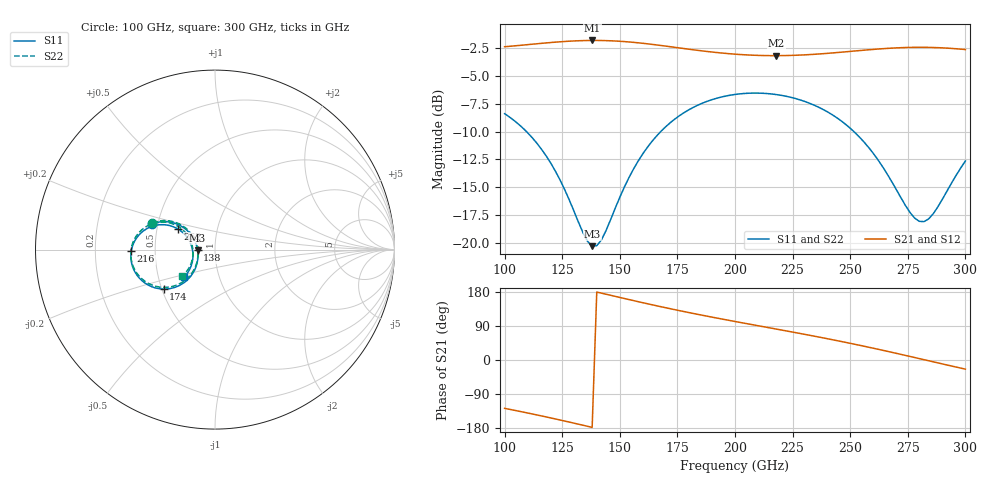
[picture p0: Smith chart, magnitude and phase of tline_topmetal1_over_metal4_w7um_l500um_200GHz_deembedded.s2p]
! Created with skrf 2.0.1 (http://scikit-rf.org).
# GHz S DB R 50.0
!freq dBS11 angS11 dBS21 angS21 dBS12 angS12 dBS22 angS22
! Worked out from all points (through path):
!   101 points, 100 GHz to 300 GHz, reference 50 ohm
!   highest |S21| = -1.81 dB at 138 GHz (marker M1); lowest = -3.2 dB at 218 GHz (marker M2)
!   group delay of S21, straight-line fit = 3.49 ps
!   lowest |S11| = -20.3 dB at 138 GHz (marker M3), VSWR 1.21, Z = 41.2 - j0.245 ohm
!   |S11| at or under -10 dB: 109.5 GHz to 167.7 GHz (58.24 GHz wide, 42 % of centre); 251.6 GHz to end of sweep
!   |S22| runs from -20.3 to -6.6 dB; largest |S21 - S12| = 8.8e-14
!   S11 on the Smith chart (normalised r, x): 100 GHz: 0.46, +0.15; 138 GHz: 0.82, -0.00; 174 GHz: 0.51, -0.26; 216 GHz: 0.36, -0.01; 262 GHz: 0.64, +0.16; 300 GHz: 0.67, -0.22
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100  -8.39 158.2  -2.38 -127.6  -2.38 -127.6  -8.40 157.0
118  -12.17 145.7  -2.04 -150.2  -2.04 -150.2  -12.18 144.4
126  -15.17 146.4  -1.91 -161.0  -1.91 -161.0  -15.19 144.9
134  -19.06 162.5  -1.83 -172.1  -1.83 -172.1  -19.10 160.9
138  -20.28 -178.3  -1.81 -177.8  -1.81 -177.8  -20.33 -179.8
142  -19.72 -156.7  -1.82 176.5  -1.82 176.5  -19.77 -158.2
152  -14.97 -133.3  -1.92 162.3  -1.92 162.3  -14.99 -134.8
160  -11.98 -133.1  -2.07 151.2  -2.07 151.2  -12.00 -134.8
168  -9.94 -137.8  -2.27 140.4  -2.27 140.4  -9.96 -139.5
174  -8.85 -142.5  -2.43 132.7  -2.43 132.7  -8.87 -144.3
186  -7.43 -152.8  -2.76 117.9  -2.76 117.9  -7.45 -154.8
200  -6.66 -165.1  -3.04 101.6  -3.04 101.6  -6.68 -167.3
216  -6.62 -178.9  -3.18 83.8  -3.18 83.8  -6.64 178.7
218  -6.67 179.4  -3.18 81.5  -3.18 81.5  -6.69 177.0
234  -7.59 166.3  -3.06 63.4  -3.06 63.4  -7.61 163.7
250  -9.69 154.9  -2.80 44.0  -2.80 44.0  -9.72 152.0
262  -12.52 150.9  -2.59 28.5  -2.59 28.5  -12.55 147.9
268  -14.47 153.4  -2.50 20.4  -2.50 20.4  -14.53 150.2
276  -17.27 168.0  -2.44 9.3  -2.44 9.3  -17.37 164.8
282  -18.08 -170.6  -2.43 0.9  -2.43 0.9  -18.20 -173.5
286  -17.38 -156.5  -2.45 -4.7  -2.45 -4.7  -17.48 -159.3
300  -12.63 -138.3  -2.63 -24.1  -2.63 -24.1  -12.68 -141.2
